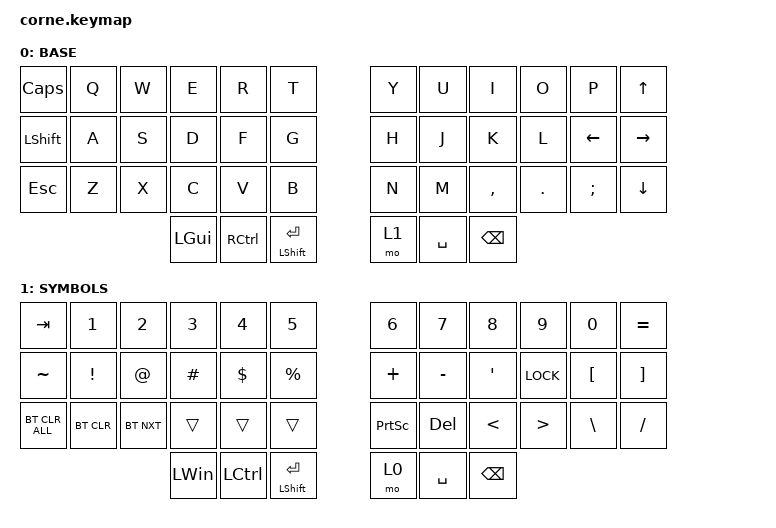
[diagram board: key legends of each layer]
#include <behaviors.dtsi>
#include <dt-bindings/zmk/bt.h>
#include <dt-bindings/zmk/keys.h>

&led_strip {
    chain-length = <0>;

    // chain-length = <27>;
    // 21 backlight + 6 glowlight
};

#define TAPPING_TERM 200

/ {
    behaviors {
        /*
    * td_lock groups locking functions into one key:
    *  - tap once to lock the host
    *  - tap twice to put the host to sleep
    */

        td_lock: tap_dance_lock {
            compatible = "zmk,behavior-tap-dance";
            label = "TAP_DANCE_LOCK";
            #binding-cells = <0>;
            tapping-term-ms = <TAPPING_TERM>;
            bindings = <&kp LG(LC(Q))>, <&kp LG(LA(C_EJECT))>;
        };
    };

    combos {
        compatible = "zmk,combos";

        Clear_BLE_Profile {
            bindings = <&bt BT_CLR>;
            key-positions = <0 38 5>;
        };

        Space {
            bindings = <&kp SPACE>;
            key-positions = <29 28>;
        };

        Enter {
            bindings = <&kp ENTER>;
            key-positions = <17 16>;
        };

        Capslock {
            bindings = <&kp CLCK>;
            key-positions = <5 6>;
        };
    };

    macros {
        git_status: git_status {
            compatible = "zmk,behavior-macro";
            #binding-cells = <0>;
            bindings = <&kp G &kp I &kp T &kp SPACE &kp S &kp T &kp A &kp T &kp U &kp S>;
            label = "GIT_STATUS";
        };

        git_commit_all: git_commit_all {
            compatible = "zmk,behavior-macro";
            #binding-cells = <0>;
            bindings = <&kp G &kp I &kp T &kp SPACE &kp C &kp O &kp M &kp M &kp I &kp T &kp SPACE &kp MINUS &kp A &kp MINUS &kp M &kp SPACE &kp DQT &kp DQT &kp LEFT_ARROW>;
            label = "GIT_COMMIT";
        };
    };

    keymap {
        compatible = "zmk,keymap";

        base_layer {
            label = "BASE";
            bindings = <
&kp CAPS    &kp Q  &kp W  &kp E         &kp R      &kp T                 &kp Y  &kp U      &kp I          &kp O    &kp P           &kp UP_ARROW
&kp LSHIFT  &kp A  &kp S  &kp D         &kp F      &kp G                 &kp H  &kp J      &kp K          &kp L    &kp LEFT_ARROW  &kp RIGHT_ARROW
&kp ESCAPE  &kp Z  &kp X  &kp C         &kp V      &kp B                 &kp N  &kp M      &kp COMMA      &kp DOT  &kp SEMI        &kp DOWN_ARROW
                          &kp LEFT_GUI  &kp RCTRL  &mt LEFT_SHIFT RET    &mo 1  &kp SPACE  &kp BACKSPACE
            >;
        };

        numsym {
            label = "SYMBOLS";
            bindings = <
&kp TAB         &kp N1      &kp N2      &kp N3        &kp N4     &kp N5                  &kp N6           &kp N7     &kp N8         &kp N9            &kp N0            &kp EQUAL
&kp TILDE       &kp EXCL    &kp AT      &kp HASH      &kp DLLR   &kp PRCNT               &kp PLUS         &kp MINUS  &kp APOS       &kp K_LOCK        &kp LEFT_BRACKET  &kp RIGHT_BRACKET
&bt BT_CLR_ALL  &bt BT_CLR  &bt BT_NXT  &trans        &trans     &trans                  &kp PRINTSCREEN  &kp DEL    &kp LESS_THAN  &kp GREATER_THAN  &kp BACKSLASH     &kp SLASH
                                        &kp LEFT_WIN  &kp LCTRL  &mt LEFT_SHIFT ENTER    &mo 0            &kp SPACE  &kp BACKSPACE
            >;
        };
    };

    conditional_layers {
        compatible = "zmk,conditional-layers";

        Activate_EXT {
            if-layers = <1 2>;
            then-layer = <3>;
        };
    };
};
